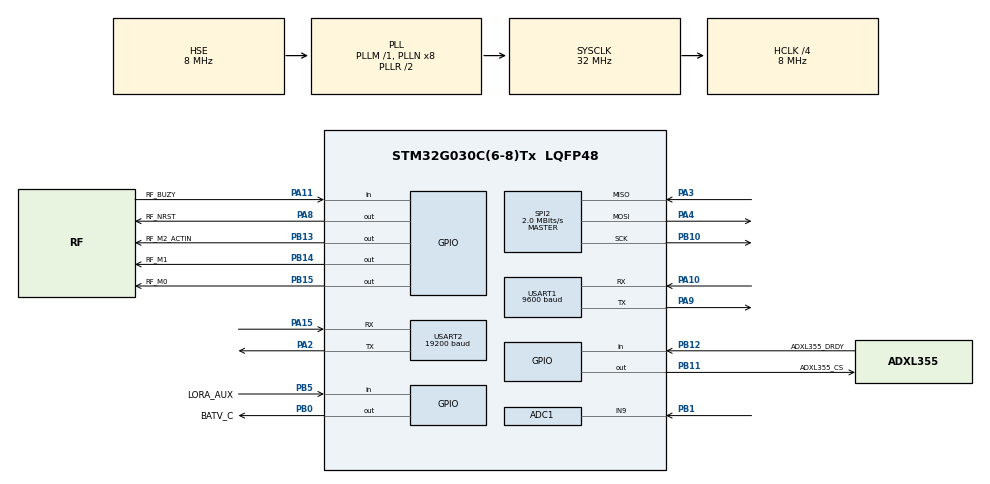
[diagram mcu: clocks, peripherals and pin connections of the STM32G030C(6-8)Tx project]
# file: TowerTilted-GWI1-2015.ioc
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ADC1.Channel-0\#ChannelRegularConversion=ADC_CHANNEL_9
ADC1.ClockPrescaler=ADC_CLOCK_ASYNC_DIV1
ADC1.NbrOfConversionFlag=1
ADC1.Rank-0\#ChannelRegularConversion=1
ADC1.SamplingTime-0\#ChannelRegularConversion=ADC_SAMPLINGTIME_COMMON_1
ADC1.SamplingTimeCommon1=ADC_SAMPLETIME_160CYCLES_5
ADC1.SamplingTimeCommon2=ADC_SAMPLETIME_160CYCLES_5
ADC1.SelectedChannel=ADC_CHANNEL_9
ADC1.TriggerFrequencyMode=ADC_TRIGGER_FREQ_LOW
ADC1.master=1
IWDG.Prescaler=IWDG_PRESCALER_64
Mcu.Family=STM32G0
Mcu.Name=STM32G030C(6-8)Tx
Mcu.Package=LQFP48
NVIC.RTC_TAMP_IRQn=true\:0\:0\:false\:false\:true\:true\:true
NVIC.USART1_IRQn=true\:0\:0\:false\:false\:true\:true\:true
PA10.Mode=Asynchronous
PA10.Signal=USART1_RX
PA11\ [PA9].GPIO_Label=RF_BUZY
PA11\ [PA9].Signal=GPIO_Input
PA13.Mode=Serial_Wire
PA13.Signal=SYS_SWDIO
PA14-BOOT0.Mode=Serial_Wire
PA14-BOOT0.Signal=SYS_SWCLK
PA15.Mode=Asynchronous
PA15.Signal=USART2_RX
PA2.Mode=Asynchronous
PA2.Signal=USART2_TX
PA3.Mode=Full_Duplex_Master
PA3.Signal=SPI2_MISO
PA4.Mode=Full_Duplex_Master
PA4.Signal=SPI2_MOSI
PA8.GPIO_Label=RF_NRST
PA8.PinState=GPIO_PIN_SET
PA8.Signal=GPIO_Output
PA9.Mode=Asynchronous
PA9.Signal=USART1_TX
PB0.GPIO_Label=BATV_C
PB0.Signal=GPIO_Output
PB1.Mode=IN9
PB1.Signal=ADC1_IN9
PB10.Mode=Full_Duplex_Master
PB10.Signal=SPI2_SCK
PB11.GPIO_Label=ADXL355_CS
PB11.GPIO_Speed=GPIO_SPEED_FREQ_VERY_HIGH
PB11.PinState=GPIO_PIN_SET
PB11.Signal=GPIO_Output
PB12.GPIO_Label=ADXL355_DRDY
PB12.GPIO_PuPd=GPIO_NOPULL
PB12.Signal=GPIO_Input
PB13.GPIO_Label=RF_M2_ACTIN
PB13.Signal=GPIO_Output
PB14.GPIO_Label=RF_M1
PB14.Signal=GPIO_Output
PB15.GPIO_Label=RF_M0
PB15.GPIO_PuPd=GPIO_PULLUP
PB15.GPIO_Speed=GPIO_SPEED_FREQ_LOW
PB15.Signal=GPIO_Output
PB5.GPIO_Label=LORA_AUX
PB5.Signal=GPIO_Input
PC13.Mode=SYS_WakeUp1
PC13.Signal=SYS_WKUP2
PC14-OSC32_IN\ (PC14).Mode=LSE-External-Oscillator
PC14-OSC32_IN\ (PC14).Signal=RCC_OSC32_IN
PC15-OSC32_OUT\ (PC15).Mode=LSE-External-Oscillator
PC15-OSC32_OUT\ (PC15).Signal=RCC_OSC32_OUT
PF0-OSC_IN\ (PF0).Mode=HSE-External-Oscillator
PF0-OSC_IN\ (PF0).Signal=RCC_OSC_IN
PF1-OSC_OUT\ (PF1).Mode=HSE-External-Oscillator
PF1-OSC_OUT\ (PF1).Signal=RCC_OSC_OUT
ProjectManager.HeapSize=0x200
ProjectManager.StackSize=0x400
ProjectManager.TargetToolchain=MDK-ARM V5.32
RCC.ADCFreq_Value=32000000
RCC.AHBCLKDivider=RCC_SYSCLK_DIV4
RCC.AHBFreq_Value=8000000
RCC.CortexFreq_Value=8000000
RCC.EXTERNAL_CLOCK_VALUE=12288000
RCC.HCLKFreq_Value=8000000
RCC.HSE_VALUE=8000000
RCC.HSI_VALUE=16000000
RCC.LSE_Drive_Capability=RCC_LSEDRIVE_LOW
RCC.PLLP=RCC_PLLP_DIV8
RCC.PLLSourceVirtual=RCC_PLLSOURCE_HSE
RCC.RTCClockSelection=RCC_RTCCLKSOURCE_LSE
RCC.SYSCLKFreq_VALUE=32000000
RCC.SYSCLKSource=RCC_SYSCLKSOURCE_PLLCLK
RCC.USART1CLockSelection=RCC_USART1CLKSOURCE_SYSCLK
RCC.VCOOutputFreq_Value=64000000
RTC.AsynchPrediv=127
RTC.Date=22
RTC.Format=RTC_FORMAT_BIN
RTC.Hours=12
RTC.Minutes=30
RTC.WakeUpClock-WakeUp=RTC_WAKEUPCLOCK_CK_SPRE_16BITS
RTC.WakeUpCounter-WakeUp=60
RTC.Year=1
SPI2.BaudRatePrescaler=SPI_BAUDRATEPRESCALER_4
SPI2.CalculateBaudRate=2.0 MBits/s
SPI2.Direction=SPI_DIRECTION_2LINES
SPI2.Mode=SPI_MODE_MASTER
SPI2.VirtualType=VM_MASTER
USART1.BaudRate=9600
USART1.VirtualMode-Asynchronous=VM_ASYNC
USART2.BaudRate=19200
USART2.VirtualMode-Asynchronous=VM_ASYNC
VP_IWDG_VS_IWDG.Mode=IWDG_Activate
VP_RTC_VS_RTC_Activate.Mode=RTC_Enabled
VP_RTC_VS_RTC_Calendar.Mode=RTC_Calendar
VP_RTC_VS_RTC_WakeUp_intern.Mode=WakeUp
board=custom

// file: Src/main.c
/* USER CODE BEGIN Header */
/**
  ******************************************************************************
  * @file           : main.c
  * @brief          : Main program body
  ******************************************************************************
  * @attention
  *
  * <h2><center>&copy; Copyright (c) 2021 STMicroelectronics.
  * All rights reserved.</center></h2>
  *
  * This software component is licensed by ST under BSD 3-Clause license,
  * the "License"; You may not use this file except in compliance with the
  * License. You may obtain a copy of the License at:
  *                        opensource.org/licenses/BSD-3-Clause
  *
  ******************************************************************************
  */
/* USER CODE END Header */
#include "main.h"
#include "adc.h"
#include "iwdg.h"
#include "rtc.h"
#include "spi.h"
#include "usart.h"
#include "gpio.h"

/* USER CODE BEGIN Includes */
#include "SystemGlobalVar.h"
#include "LowPowerMode.h"
#include "SIMIT_TCM_LoRa.h"
#include "E28_2G4T12S_LoRa.h"
#include "ADXL355.h"
#include "ADC_App.h"
#include "timestamp.h"
#include "HyperTerminal.h"
#include <stdlib.h>
/* USER CODE END Includes */

/* USER CODE BEGIN PV */
uint16_t SystemSleepTime=0;
/* USER CODE END PV */

void SystemClock_Config(void);

/* USER CODE BEGIN 0 */
void Sensor_TimeSynchronization()
{
	static uint32_t Timeout=0;
	static uint8_t count=0;
	if(Timeout==0)
	{
		Timeout = HAL_GetTick();
		SensorControl(Timing_CTL,0,NULL,0);
		count++;
	}
	else if(count<5)
	{
		if((SystemGlobalVar.Retry & CMD_TIMING_END) != CMD_TIMING_END)
		{
			if(HAL_GetTick()-Timeout >=500) Timeout=0;
		}
		else
		{
				count = 5;
			  SystemGlobalVar.Retry = 0;
		}
	}
}
/* USER CODE END 0 */

int main(void)
{
  /* USER CODE BEGIN 1 */
	//uint16_t i,maintime=0;
	//struct ADXL355_Typedef ADXL355;
//	int16_t temp_int16;
	uint32_t temp_u32;
	uint32_t NowTime=0;
//	uint8_t StatuUpFlag=1;
  /* USER CODE END 1 */

  /* MCU Configuration--------------------------------------------------------*/

  /* Reset of all peripherals, Initializes the Flash interface and the Systick. */
  HAL_Init();

  /* Configure the system clock */
  SystemClock_Config();

  /* USER CODE BEGIN SysInit */
  //SET_BIT(SYSCFG->CFGR1, 1<<9);   	//PB15 and PA8 pull-down configuration strobe
																												//Setting this bit disables (disconnects) the internal pull-down resistors
  /* USER CODE END SysInit */

  /* Initialize all configured peripherals */
  MX_GPIO_Init();
  MX_ADC1_Init();
  MX_SPI2_Init();
  MX_USART1_UART_Init();
  MX_USART2_UART_Init();
  MX_RTC_Init();
  MX_IWDG_Init();
  /* USER CODE BEGIN 2 */
	LoRa_InterSleep(NULL);
	if(CheckIsStandby())    		//
	{
		if(HAL_RTCEx_BKUPRead(&hrtc,RTC_BKP_DR1)==0X99cc)
		{
			HAL_RTCEx_BKUPWrite(&hrtc,RTC_BKP_DR1,0X00);//标记已经初始化过了
			SystemIntoStandbyMode();
		}
		SystemGlobalVar_init();
		SPI_SetSpeed(&XL355_hspi,SPI_BAUDRATEPRESCALER_4); //设置为21M时钟,高速模式
		HAL_Delay(10);
		ADXL355_Reset_Sensor();
		ADXL355_Init();
		if(HAL_RTCEx_BKUPRead(&hrtc,RTC_BKP_DR0)!=0X55AA) RTC_Set_Time(SystemGlobalVar.BJ_Time);
		HyperTerminal_Menu(2000);  //系统上电提供配置接口，2s超时。系统唤醒不提供配置接口
		SystemGlobalVar_init();
		SystemGlobalVar.PowerOnTimeStamps = RTC_Get_Stamp();
		SystemConfigSave();      //保存配置
		ADXL355_Reset_Sensor();
		ADXL355_Init();
		__HAL_RTC_WAKEUPTIMER_CLEAR_FLAG(&hrtc, RTC_FLAG_WUTF);//清除RTC WAKE UP的标志
		HAL_RTCEx_SetWakeUpTimer(&hrtc, SystemGlobalVar.SamplingPeriod-1, RTC_WAKEUPCLOCK_CK_SPRE_16BITS);
	}
	else
	{
	 SystemGlobalVar_init();
		//if(RTC_Irq_Flag)
	 if(__HAL_RTC_WAKEUPTIMER_GET_FLAG(&hrtc, RTC_FLAG_WUTF) != RESET)
	 {
		 //RTC_wakeup_flag = 1;
		 RTC_Irq_Flag = 0;
		 APP_LOG("RTC wakeup.\r\n");
		 __HAL_RTC_WAKEUPTIMER_CLEAR_FLAG(&hrtc, RTC_FLAG_WUTF);//清除RTC WAKE UP的标志
		 HAL_RTCEx_SetWakeUpTimer(&hrtc, SystemGlobalVar.SamplingPeriod-1, RTC_WAKEUPCLOCK_CK_SPRE_16BITS);
	 }
	 else
			APP_LOG("WKUP pin wakeup\r\n");
	}
	IWDG_Init(IWDG_PRESCALER_64,3000);  	//分频数为8,重载值为500,溢出时间为1s
	IWDG_Feed();    			//喂狗
	SPI_SetSpeed(&XL355_hspi,SPI_BAUDRATEPRESCALER_4); //设置为21M时钟,高速模式
	SystemGlobalVar.TimeStamp = RTC_Get_Stamp();
	if((SystemGlobalVar.TimeStamp-SystemGlobalVar.PowerOnTimeStamps)>=SystemGlobalVar.ResetTimeStamps)
	{
			APP_LOG("硬件复位时间到，重启硬件\r\n");
		  HAL_Delay(5);
			HAL_NVIC_SystemReset();
	}
	__HAL_RTC_WAKEUPTIMER_CLEAR_FLAG(&hrtc, RTC_FLAG_WUTF);//清除RTC WAKE UP的标志
	IWDG_Feed();    			//喂狗
	ADXL355_ACT_Set();
	LoRa_WriteConfigPara(SystemGlobalVar.LoRa_Config);
	temp_u32 = LoRa_ParaToBaud(SystemGlobalVar.LoRa_Config.SerialInfBaud);
	set_baudrate(&LORA_Handler,temp_u32);
	LoRa_Init();				//LoRa上电初始化
	HAL_Delay(10);
	NowTime = HAL_GetTick();
	SystemGlobalVar.Retry=3;  //3次重发
	SystemGlobalVar.SamplingFlg=0;
	SystemSleepTime = 0;
	int  rand_ms; //0~32768

	LoRa_Buf_clear();
	NowTime = HAL_GetTick();
  /* USER CODE END 2 */

  /* Infinite loop */
  while (1)
  {

    /* USER CODE BEGIN 3 */
		IWDG_Feed();    			//喂狗
//		if(StatuUpFlag)
//		{
//			StatuUpFlag = 0;
//			//SensorStatusUp(1);				 //传感器状态量上传给汇聚节点
//
//		}

		LoRa.RxLen = LORA_BUF_LEN;
		if(LoRa_DataPro(LoRa.RxData,&LoRa.RxLen)==1)	//对接收到的数据进行处理
		{
			SensorMessagePro(LoRa.RxData,LoRa.RxLen);
		}

		if((SystemGlobalVar.Retry&CMD_CONTROL)==CMD_CONTROL)  //收到控制命令
		{
			APP_LOG("收到控制指令\r\n");
			SystemGlobalVar.Retry &= (~CMD_CONTROL);
			SystemGlobalVar.Retry |= CMD_CONTROL_WAIT;
			NowTime = HAL_GetTick();
			SystemSleepTime = 0;
		}
		else if((SystemGlobalVar.Retry&CMD_CONTROL_WAIT)==CMD_CONTROL_WAIT)  //控制指令处理间隙
		{
			if( (HAL_GetTick()-NowTime)>=500)		//1S
			{
				SystemGlobalVar.Retry &= (~CMD_CONTROL_WAIT);
				if(SystemGlobalVar.Retry&0x0f) SystemGlobalVar.Retry = 3;				//3次发送
				NowTime = HAL_GetTick();
				APP_LOG("退出控制指令等待时间\r\n");
			}
		}
		else if((SystemGlobalVar.Retry==0)||((SystemGlobalVar.Retry & CMD_TIMING_END) == CMD_TIMING_END))		  //数据发送完成
		{
			Sensor_TimeSynchronization();
			Sleep_Opt();																								//超时进入低功耗模式
		}
		#if 1
		else if((SystemGlobalVar.Retry&CMD_RETRY)==CMD_RETRY)		//重发
		{
			if((SystemGlobalVar.Retry&0x0f) > 1)
			{
				if( (HAL_GetTick()-NowTime)>=rand_ms)				//0.5s~3.8S
				{
					//APP_LOG("重发时间间隔:%dms\r\n",500+rand_ms);
					NowTime = HAL_GetTick();
					rand_ms = abs(rand())%2000+500; 		//随机数 500~2499
					//APP_LOG("随机延时时间:%dms\r\n",rand_ms);
					SystemGlobalVar.Retry--;
					SystemGlobalVar.SamplingFlg = 1;
				}
			}
			else
			{
				SystemGlobalVar.Retry &= (~CMD_RETRY);
				SystemGlobalVar.Retry = 0; //到达发送次数上限，取消重发
				SystemSleepTime = 0;
			}
		}
		//if( (HAL_GetTick()-NowTime)>=SystemGlobalVar.SamplingPeriod*60000)		//
		else if(SystemGlobalVar.Retry&0x0f)
		{
			if( (HAL_GetTick()-NowTime)>=500)		//0.5S
			{
				NowTime = HAL_GetTick();
				rand_ms = abs(rand())%2000+500; 	//随机数 500~2499
				//APP_LOG("随机延时时间:%dms\r\n",rand_ms);
				//ADXL355_Data_Scan(&ADXL355);
				//Read_Bat_Voltage();  //电池电压*100
				//RTC_Get_Stamp();
				SystemGlobalVar.SamplingFlg = 1;					//
				SystemGlobalVar.Retry |= CMD_RETRY;				//重发
				//SystemGlobalVar.Retry += 3;								//重发5次
			}
		}

		#endif

		if(SystemGlobalVar.SamplingFlg)								//采集时间到
		{
			SystemGlobalVar.SamplingFlg=0;
			//SensorMonitoringDataUp(1);				 						//监测数据报文上传给汇聚节点
			SensorMonitoringDataAndStatusUp();							//监测数据报文与传感器状态量上传给汇聚节点
			LoRa_Buf_clear();
			NowTime = HAL_GetTick();
			rand_ms = abs(rand())%2000+500; 		//随机数 500~2499
			//APP_LOG("随机延时时间:%dms\r\n",rand_ms);
		}

		//if(SystemGlobalVar.Retry == 0x10)		//重发
		//	Sleep_Opt();											//超时进入低功耗模式
		//HAL_Delay(1);												//系统滴答时钟每1ms循环一次
  }
  /* USER CODE END 3 */
}

void SystemClock_Config(void)
{
  RCC_OscInitTypeDef RCC_OscInitStruct = {0};
  RCC_ClkInitTypeDef RCC_ClkInitStruct = {0};
  RCC_PeriphCLKInitTypeDef PeriphClkInit = {0};

  /** Configure the main internal regulator output voltage
  */
  HAL_PWREx_ControlVoltageScaling(PWR_REGULATOR_VOLTAGE_SCALE1);
  /** Configure LSE Drive Capability
  */
  HAL_PWR_EnableBkUpAccess();
  __HAL_RCC_LSEDRIVE_CONFIG(RCC_LSEDRIVE_LOW);
  /** Initializes the RCC Oscillators according to the specified parameters
  * in the RCC_OscInitTypeDef structure.
  */
  RCC_OscInitStruct.OscillatorType = RCC_OSCILLATORTYPE_LSI|RCC_OSCILLATORTYPE_HSE
                              |RCC_OSCILLATORTYPE_LSE;
  RCC_OscInitStruct.HSEState = RCC_HSE_ON;
  RCC_OscInitStruct.LSEState = RCC_LSE_ON;
  RCC_OscInitStruct.LSIState = RCC_LSI_ON;
  RCC_OscInitStruct.PLL.PLLState = RCC_PLL_ON;
  RCC_OscInitStruct.PLL.PLLSource = RCC_PLLSOURCE_HSE;
  RCC_OscInitStruct.PLL.PLLM = RCC_PLLM_DIV1;
  RCC_OscInitStruct.PLL.PLLN = 8;
  RCC_OscInitStruct.PLL.PLLP = RCC_PLLP_DIV8;
  RCC_OscInitStruct.PLL.PLLR = RCC_PLLR_DIV2;
  if (HAL_RCC_OscConfig(&RCC_OscInitStruct) != HAL_OK)
  {
    Error_Handler();
  }
  /** Initializes the CPU, AHB and APB buses clocks
  */
  RCC_ClkInitStruct.ClockType = RCC_CLOCKTYPE_HCLK|RCC_CLOCKTYPE_SYSCLK
                              |RCC_CLOCKTYPE_PCLK1;
  RCC_ClkInitStruct.SYSCLKSource = RCC_SYSCLKSOURCE_PLLCLK;
  RCC_ClkInitStruct.AHBCLKDivider = RCC_SYSCLK_DIV4;
  RCC_ClkInitStruct.APB1CLKDivider = RCC_HCLK_DIV1;

  if (HAL_RCC_ClockConfig(&RCC_ClkInitStruct, FLASH_LATENCY_0) != HAL_OK)
  {
    Error_Handler();
  }
  /** Initializes the peripherals clocks
  */
  PeriphClkInit.PeriphClockSelection = RCC_PERIPHCLK_RTC|RCC_PERIPHCLK_USART1
                              |RCC_PERIPHCLK_ADC;
  PeriphClkInit.Usart1ClockSelection = RCC_USART1CLKSOURCE_SYSCLK;
  PeriphClkInit.AdcClockSelection = RCC_ADCCLKSOURCE_SYSCLK;
  PeriphClkInit.RTCClockSelection = RCC_RTCCLKSOURCE_LSE;

  if (HAL_RCCEx_PeriphCLKConfig(&PeriphClkInit) != HAL_OK)
  {
    Error_Handler();
  }
}

/* USER CODE BEGIN 4 */
void HSE_SystemClock_Config(void)
{
  RCC_OscInitTypeDef RCC_OscInitStruct = {0};
  RCC_ClkInitTypeDef RCC_ClkInitStruct = {0};
  RCC_PeriphCLKInitTypeDef PeriphClkInit = {0};

  /** Configure the main internal regulator output voltage
  */
  HAL_PWREx_ControlVoltageScaling(PWR_REGULATOR_VOLTAGE_SCALE1);
  /** Configure LSE Drive Capability
  */
  HAL_PWR_EnableBkUpAccess();
  __HAL_RCC_LSEDRIVE_CONFIG(RCC_LSEDRIVE_LOW);
  /** Initializes the RCC Oscillators according to the specified parameters
  * in the RCC_OscInitTypeDef structure.
  */
  RCC_OscInitStruct.OscillatorType = RCC_OSCILLATORTYPE_HSE|RCC_OSCILLATORTYPE_LSE;
  RCC_OscInitStruct.HSEState = RCC_HSE_ON;
  RCC_OscInitStruct.LSEState = RCC_LSE_ON;
  RCC_OscInitStruct.PLL.PLLState = RCC_PLL_NONE;
  if (HAL_RCC_OscConfig(&RCC_OscInitStruct) != HAL_OK)
  {
    Error_Handler();
  }
  /** Initializes the CPU, AHB and APB buses clocks
  */
  RCC_ClkInitStruct.ClockType = RCC_CLOCKTYPE_HCLK|RCC_CLOCKTYPE_SYSCLK
                              |RCC_CLOCKTYPE_PCLK1;
  RCC_ClkInitStruct.SYSCLKSource = RCC_SYSCLKSOURCE_HSE;
  RCC_ClkInitStruct.AHBCLKDivider = RCC_SYSCLK_DIV8;
  RCC_ClkInitStruct.APB1CLKDivider = RCC_HCLK_DIV1;

  if (HAL_RCC_ClockConfig(&RCC_ClkInitStruct, FLASH_LATENCY_0) != HAL_OK)
  {
    Error_Handler();
  }
  /** Initializes the peripherals clocks
  */
  PeriphClkInit.PeriphClockSelection = RCC_PERIPHCLK_RTC|RCC_PERIPHCLK_USART1
                              |RCC_PERIPHCLK_ADC;
  PeriphClkInit.Usart1ClockSelection = RCC_USART1CLKSOURCE_PCLK1;
  PeriphClkInit.AdcClockSelection = RCC_ADCCLKSOURCE_SYSCLK;
  PeriphClkInit.RTCClockSelection = RCC_RTCCLKSOURCE_LSE;

  if (HAL_RCCEx_PeriphCLKConfig(&PeriphClkInit) != HAL_OK)
  {
    Error_Handler();
  }
}
/* USER CODE END 4 */

void Error_Handler(void)
{
  __disable_irq();
  while (1)
  {
  }
}

/************************ (C) COPYRIGHT STMicroelectronics *****END OF FILE****/
